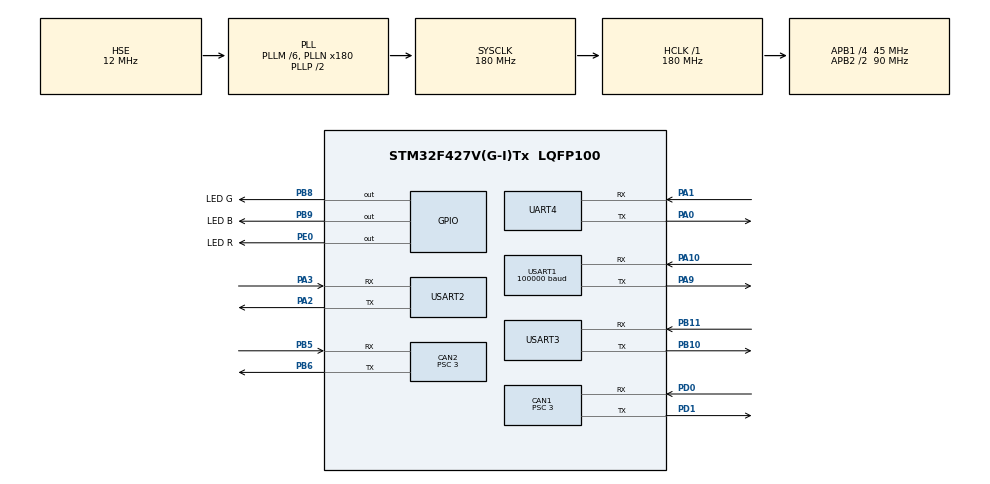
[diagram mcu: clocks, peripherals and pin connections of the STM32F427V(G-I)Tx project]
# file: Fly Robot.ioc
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CAN1.BS1=CAN_BS1_7TQ
CAN1.BS2=CAN_BS2_7TQ
CAN1.CalculateBaudRate=1000000
CAN1.CalculateTimeBit=1000
CAN1.CalculateTimeQuantum=66.66666666666666
CAN1.Prescaler=3
CAN2.BS1=CAN_BS1_7TQ
CAN2.BS2=CAN_BS2_7TQ
CAN2.CalculateBaudRate=1000000
CAN2.CalculateTimeBit=1000
CAN2.CalculateTimeQuantum=66.66666666666666
CAN2.Prescaler=3
CAN2.SJW=CAN_SJW_2TQ
Dma.Request0=USART1_RX
Dma.Request1=UART4_TX
Dma.Request2=USART2_RX
Dma.UART4_TX.1.Direction=DMA_MEMORY_TO_PERIPH
Dma.UART4_TX.1.FIFOMode=DMA_FIFOMODE_DISABLE
Dma.UART4_TX.1.Instance=DMA1_Stream4
Dma.UART4_TX.1.MemDataAlignment=DMA_MDATAALIGN_BYTE
Dma.UART4_TX.1.MemInc=DMA_MINC_ENABLE
Dma.UART4_TX.1.Mode=DMA_NORMAL
Dma.UART4_TX.1.PeriphDataAlignment=DMA_PDATAALIGN_BYTE
Dma.UART4_TX.1.PeriphInc=DMA_PINC_DISABLE
Dma.UART4_TX.1.Priority=DMA_PRIORITY_LOW
Dma.USART1_RX.0.Direction=DMA_PERIPH_TO_MEMORY
Dma.USART1_RX.0.FIFOMode=DMA_FIFOMODE_DISABLE
Dma.USART1_RX.0.Instance=DMA2_Stream2
Dma.USART1_RX.0.MemDataAlignment=DMA_MDATAALIGN_BYTE
Dma.USART1_RX.0.MemInc=DMA_MINC_ENABLE
Dma.USART1_RX.0.Mode=DMA_NORMAL
Dma.USART1_RX.0.PeriphDataAlignment=DMA_PDATAALIGN_BYTE
Dma.USART1_RX.0.PeriphInc=DMA_PINC_DISABLE
Dma.USART1_RX.0.Priority=DMA_PRIORITY_LOW
Dma.USART2_RX.2.Direction=DMA_PERIPH_TO_MEMORY
Dma.USART2_RX.2.FIFOMode=DMA_FIFOMODE_DISABLE
Dma.USART2_RX.2.Instance=DMA1_Stream5
Dma.USART2_RX.2.MemDataAlignment=DMA_MDATAALIGN_BYTE
Dma.USART2_RX.2.MemInc=DMA_MINC_ENABLE
Dma.USART2_RX.2.Mode=DMA_NORMAL
Dma.USART2_RX.2.PeriphDataAlignment=DMA_PDATAALIGN_BYTE
Dma.USART2_RX.2.PeriphInc=DMA_PINC_DISABLE
Dma.USART2_RX.2.Priority=DMA_PRIORITY_LOW
FREERTOS.Tasks01=defaultTask,24,128,StartDefaultTask,Default,NULL,Dynamic,NULL,NULL;ShootTask,24,256,StartShootTask,As weak,NULL,Dynamic,NULL,NULL;GimbalTask,24,256,StartGimbalTask,As weak,NULL,Dynamic,NULL,NULL;MonitorTask,24,128,StartMonitorTask,As weak,NULL,Dynamic,NULL,NULL;InitTask,55,128,StartInitTask,Default,NULL,Dynamic,NULL,NULL;CanTask,24,128,StartCanTask,Default,NULL,Dynamic,NULL,NULL
FREERTOS.configCHECK_FOR_STACK_OVERFLOW=1
FREERTOS.configENABLE_FPU=1
FREERTOS.configUSE_STATS_FORMATTING_FUNCTIONS=1
Mcu.Family=STM32F4
Mcu.Name=STM32F427V(G-I)Tx
Mcu.Package=LQFP100
NVIC.CAN1_RX0_IRQn=true\:5\:0\:false\:false\:true\:true\:true\:true\:true
NVIC.CAN2_RX0_IRQn=true\:5\:0\:false\:false\:true\:true\:true\:true\:true
NVIC.DMA1_Stream4_IRQn=true\:5\:0\:false\:false\:true\:true\:false\:true\:true
NVIC.DMA1_Stream5_IRQn=true\:5\:0\:false\:false\:true\:true\:false\:true\:true
NVIC.DMA2_Stream2_IRQn=true\:5\:0\:false\:false\:true\:true\:false\:true\:true
NVIC.PriorityGroup=NVIC_PRIORITYGROUP_4
NVIC.TIM6_DAC_IRQn=true\:15\:0\:false\:false\:true\:false\:false\:true\:true
NVIC.TimeBase=TIM6_DAC_IRQn
NVIC.TimeBaseIP=TIM6
NVIC.UART4_IRQn=true\:5\:0\:false\:false\:true\:true\:true\:true\:true
NVIC.USART1_IRQn=true\:5\:0\:false\:false\:true\:true\:true\:true\:true
NVIC.USART2_IRQn=true\:5\:0\:false\:false\:true\:true\:true\:true\:true
NVIC.USART3_IRQn=true\:5\:0\:false\:false\:true\:true\:true\:true\:true
PA0/WKUP.Mode=Asynchronous
PA0/WKUP.Signal=UART4_TX
PA1.Mode=Asynchronous
PA1.Signal=UART4_RX
PA10.Mode=Asynchronous
PA10.Signal=USART1_RX
PA13.Mode=Serial_Wire
PA13.Signal=SYS_JTMS-SWDIO
PA14.Mode=Serial_Wire
PA14.Signal=SYS_JTCK-SWCLK
PA2.GPIO_PuPd=GPIO_PULLUP
PA2.Mode=Asynchronous
PA2.Signal=USART2_TX
PA3.GPIO_PuPd=GPIO_PULLUP
PA3.Mode=Asynchronous
PA3.Signal=USART2_RX
PA9.Mode=Asynchronous
PA9.Signal=USART1_TX
PB10.Mode=Asynchronous
PB10.Signal=USART3_TX
PB11.Mode=Asynchronous
PB11.Signal=USART3_RX
PB5.Mode=CAN_Activate
PB5.Signal=CAN2_RX
PB6.Mode=CAN_Activate
PB6.Signal=CAN2_TX
PB8.GPIO_Label=LED G
PB8.Signal=GPIO_Output
PB9.GPIO_Label=LED B
PB9.Signal=GPIO_Output
PD0.Mode=CAN_Activate
PD0.Signal=CAN1_RX
PD1.Mode=CAN_Activate
PD1.Signal=CAN1_TX
PE0.GPIO_Label=LED R
PE0.Signal=GPIO_Output
PH0/OSC_IN.Mode=HSE-External-Oscillator
PH0/OSC_IN.Signal=RCC_OSC_IN
PH1/OSC_OUT.Mode=HSE-External-Oscillator
PH1/OSC_OUT.Signal=RCC_OSC_OUT
ProjectManager.HeapSize=0x200
ProjectManager.StackSize=0x400
ProjectManager.TargetToolchain=MDK-ARM V5.32
RCC.48MHZClocksFreq_Value=90000000
RCC.AHBFreq_Value=180000000
RCC.APB1CLKDivider=RCC_HCLK_DIV4
RCC.APB1Freq_Value=45000000
RCC.APB1TimFreq_Value=90000000
RCC.APB2CLKDivider=RCC_HCLK_DIV2
RCC.APB2Freq_Value=90000000
RCC.APB2TimFreq_Value=180000000
RCC.CortexFreq_Value=180000000
RCC.HCLKFreq_Value=180000000
RCC.HSE_VALUE=12000000
RCC.HSI_VALUE=16000000
RCC.LSE_VALUE=32768
RCC.PLLM=6
RCC.PLLN=180
RCC.PLLSourceVirtual=RCC_PLLSOURCE_HSE
RCC.SYSCLKFreq_VALUE=180000000
RCC.SYSCLKSource=RCC_SYSCLKSOURCE_PLLCLK
RCC.VCOOutputFreq_Value=360000000
UART4.VirtualMode=Asynchronous
USART1.BaudRate=100000
USART1.VirtualMode=VM_ASYNC
USART2.VirtualMode=VM_ASYNC
USART3.VirtualMode=VM_ASYNC
VP_FREERTOS_VS_CMSIS_V2.Mode=CMSIS_V2
VP_SYS_VS_tim6.Mode=TIM6
board=custom

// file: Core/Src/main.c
/* USER CODE BEGIN Header */
/**
  ******************************************************************************
  * @file           : main.c
  * @brief          : Main program body
  ******************************************************************************
  * @attention
  *
  * Copyright (c) 2024 STMicroelectronics.
  * All rights reserved.
  *
  * This software is licensed under terms that can be found in the LICENSE file
  * in the root directory of this software component.
  * If no LICENSE file comes with this software, it is provided AS-IS.
  *
  ******************************************************************************
  */
/* USER CODE END Header */
#include "main.h"
#include "cmsis_os.h"
#include "can.h"
#include "dma.h"
#include "usart.h"
#include "gpio.h"

/* USER CODE BEGIN Includes */
#include "_USART.h"
#include "_Can.h"
#include "all_line.h"
/* USER CODE END Includes */

/* USER CODE BEGIN PD */

//#define TX_BUFFER_SIZE 1024 // 定义缓冲区大小

//uint8_t txBuffer[TX_BUFFER_SIZE]; // 定义发送缓冲区
//volatile uint16_t txBufferTail = 0; // 缓冲区尾指针
//volatile uint16_t txBufferHead = 0; // 缓冲区头指针
//// 重写fputc函数
//int fputc(int ch, FILE *f) {
//    uint16_t nextIndex = (txBufferTail + 1) % TX_BUFFER_SIZE;

//    // 确保缓冲区未满
//    if (nextIndex != txBufferHead) {
//        txBuffer[txBufferTail] = (uint8_t)ch;
//        txBufferTail = nextIndex;

//        // 如果DMA未在传输，则启动DMA传输
//        if (__HAL_UART_GET_FLAG(&huart2, UART_FLAG_TXE) &&
//            (__HAL_UART_GET_IT_SOURCE(&huart2, UART_IT_TXE) == RESET)) {
//            // 计算传输长度
//            uint16_t dataLength = (txBufferTail >= txBufferHead) ?
//                                  (txBufferTail - txBufferHead) :
//                                  (TX_BUFFER_SIZE - txBufferHead);

//            // 启动DMA传输
//            HAL_UART_Transmit_DMA(&huart2, &txBuffer[txBufferHead], dataLength);
//        }
//    }

//    return ch;
//}
/* USER CODE END PD */

/* USER CODE BEGIN PM */
//void HAL_UART_TxCpltCallback(UART_HandleTypeDef *huart) {
//    if (huart == &huart2) {
//        // 更新缓冲区头指针
//        txBufferHead = (txBufferHead + huart->TxXferSize) % TX_BUFFER_SIZE;

//        // 如果还有数据需要发送，则继续传输
//        if (txBufferHead != txBufferTail) {
//            uint16_t dataLength = (txBufferTail >= txBufferHead) ?
//                                  (txBufferTail - txBufferHead) :
//                                  (TX_BUFFER_SIZE - txBufferHead);
//            HAL_UART_Transmit_DMA(&huart2, &txBuffer[txBufferHead], dataLength);
//        }
//    }
//}
/* USER CODE END PM */

void SystemClock_Config(void);
void MX_FREERTOS_Init(void);

/* USER CODE BEGIN 0 */
uint8_t receive_buff[5];

/* USER CODE END 0 */

int main(void)
{

  /* MCU Configuration--------------------------------------------------------*/

  /* Reset of all peripherals, Initializes the Flash interface and the Systick. */
  HAL_Init();

  /* Configure the system clock */
  SystemClock_Config();

  /* Initialize all configured peripherals */
  MX_GPIO_Init();
  MX_DMA_Init();
  MX_USART1_UART_Init();
  MX_CAN1_Init();
  MX_CAN2_Init();
  MX_USART2_UART_Init();
  MX_USART3_UART_Init();
  MX_UART4_Init();

  /* Init scheduler */
  osKernelInitialize();

  /* Call init function for freertos objects (in freertos.c) */
  MX_FREERTOS_Init();

  /* Start scheduler */
  osKernelStart();

  /* We should never get here as control is now taken by the scheduler */
  /* Infinite loop */
  while (1)
  {

	}
}

void SystemClock_Config(void)
{
  RCC_OscInitTypeDef RCC_OscInitStruct = {0};
  RCC_ClkInitTypeDef RCC_ClkInitStruct = {0};

  /** Configure the main internal regulator output voltage
  */
  __HAL_RCC_PWR_CLK_ENABLE();
  __HAL_PWR_VOLTAGESCALING_CONFIG(PWR_REGULATOR_VOLTAGE_SCALE1);

  /** Initializes the RCC Oscillators according to the specified parameters
  * in the RCC_OscInitTypeDef structure.
  */
  RCC_OscInitStruct.OscillatorType = RCC_OSCILLATORTYPE_HSE;
  RCC_OscInitStruct.HSEState = RCC_HSE_ON;
  RCC_OscInitStruct.PLL.PLLState = RCC_PLL_ON;
  RCC_OscInitStruct.PLL.PLLSource = RCC_PLLSOURCE_HSE;
  RCC_OscInitStruct.PLL.PLLM = 6;
  RCC_OscInitStruct.PLL.PLLN = 180;
  RCC_OscInitStruct.PLL.PLLP = RCC_PLLP_DIV2;
  RCC_OscInitStruct.PLL.PLLQ = 4;
  if (HAL_RCC_OscConfig(&RCC_OscInitStruct) != HAL_OK)
  {
    Error_Handler();
  }

  /** Activate the Over-Drive mode
  */
  if (HAL_PWREx_EnableOverDrive() != HAL_OK)
  {
    Error_Handler();
  }

  /** Initializes the CPU, AHB and APB buses clocks
  */
  RCC_ClkInitStruct.ClockType = RCC_CLOCKTYPE_HCLK|RCC_CLOCKTYPE_SYSCLK
                              |RCC_CLOCKTYPE_PCLK1|RCC_CLOCKTYPE_PCLK2;
  RCC_ClkInitStruct.SYSCLKSource = RCC_SYSCLKSOURCE_PLLCLK;
  RCC_ClkInitStruct.AHBCLKDivider = RCC_SYSCLK_DIV1;
  RCC_ClkInitStruct.APB1CLKDivider = RCC_HCLK_DIV4;
  RCC_ClkInitStruct.APB2CLKDivider = RCC_HCLK_DIV2;

  if (HAL_RCC_ClockConfig(&RCC_ClkInitStruct, FLASH_LATENCY_5) != HAL_OK)
  {
    Error_Handler();
  }
}

void HAL_TIM_PeriodElapsedCallback(TIM_HandleTypeDef *htim)
{
  if (htim->Instance == TIM6) {
    HAL_IncTick();
  }
}

void Error_Handler(void)
{
  __disable_irq();
  while (1)
  {
  }
}

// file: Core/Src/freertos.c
/* USER CODE BEGIN Header */
/**
  ******************************************************************************
  * File Name          : freertos.c
  * Description        : Code for freertos applications
  ******************************************************************************
  * @attention
  *
  * Copyright (c) 2024 STMicroelectronics.
  * All rights reserved.
  *
  * This software is licensed under terms that can be found in the LICENSE file
  * in the root directory of this software component.
  * If no LICENSE file comes with this software, it is provided AS-IS.
  *
  ******************************************************************************
  */
/* USER CODE END Header */

#include "FreeRTOS.h"
#include "task.h"
#include "main.h"
#include "cmsis_os.h"

/* USER CODE BEGIN Includes */
//#include "FreeRTOSRuntimeStats.h"
/* USER CODE END Includes */

/* USER CODE BEGIN PTD */
#include "Motor.h"
#include "message_buffer.h"
#include "_Can.h"
#include "Vofa.h"
#include "all_line.h"
/* USER CODE END PTD */

/* Definitions for defaultTask */
osThreadId_t defaultTaskHandle;
const osThreadAttr_t defaultTask_attributes = {
  .name = "defaultTask",
  .stack_size = 128 * 4,
  .priority = (osPriority_t) osPriorityNormal,
};
/* Definitions for ShootTask */
osThreadId_t ShootTaskHandle;
const osThreadAttr_t ShootTask_attributes = {
  .name = "ShootTask",
  .stack_size = 256 * 4,
  .priority = (osPriority_t) osPriorityNormal,
};
/* Definitions for GimbalTask */
osThreadId_t GimbalTaskHandle;
const osThreadAttr_t GimbalTask_attributes = {
  .name = "GimbalTask",
  .stack_size = 256 * 4,
  .priority = (osPriority_t) osPriorityNormal,
};
/* Definitions for MonitorTask */
osThreadId_t MonitorTaskHandle;
const osThreadAttr_t MonitorTask_attributes = {
  .name = "MonitorTask",
  .stack_size = 128 * 4,
  .priority = (osPriority_t) osPriorityNormal,
};
/* Definitions for InitTask */
osThreadId_t InitTaskHandle;
const osThreadAttr_t InitTask_attributes = {
  .name = "InitTask",
  .stack_size = 128 * 4,
  .priority = (osPriority_t) osPriorityRealtime7,
};
/* Definitions for CanTask */
osThreadId_t CanTaskHandle;
const osThreadAttr_t CanTask_attributes = {
  .name = "CanTask",
  .stack_size = 128 * 4,
  .priority = (osPriority_t) osPriorityNormal,
};

void StartDefaultTask(void *argument);
void StartShootTask(void *argument);
void StartGimbalTask(void *argument);
void StartMonitorTask(void *argument);
void StartInitTask(void *argument);
void StartCanTask(void *argument);

void MX_FREERTOS_Init(void); /* (MISRA C 2004 rule 8.1) */

/* Hook prototypes */
void vApplicationStackOverflowHook(xTaskHandle xTask, signed char *pcTaskName);

/* USER CODE BEGIN 4 */
void vApplicationStackOverflowHook(xTaskHandle xTask, signed char *pcTaskName)
{
   /* Run time stack overflow checking is performed if
   configCHECK_FOR_STACK_OVERFLOW is defined to 1 or 2. This hook function is
   called if a stack overflow is detected. */
}
/* USER CODE END 4 */

void MX_FREERTOS_Init(void) {

  /* USER CODE BEGIN RTOS_QUEUES */
  /* add queues, ... */
//  UsartMessageBufferHandle = xMessageBufferCreate(256);

  /* USER CODE END RTOS_QUEUES */

  /* Create the thread(s) */
  /* creation of defaultTask */
  defaultTaskHandle = osThreadNew(StartDefaultTask, NULL, &defaultTask_attributes);

  /* creation of ShootTask */
  ShootTaskHandle = osThreadNew(StartShootTask, NULL, &ShootTask_attributes);

  /* creation of GimbalTask */
  GimbalTaskHandle = osThreadNew(StartGimbalTask, NULL, &GimbalTask_attributes);

  /* creation of MonitorTask */
  MonitorTaskHandle = osThreadNew(StartMonitorTask, NULL, &MonitorTask_attributes);

  /* creation of InitTask */
  InitTaskHandle = osThreadNew(StartInitTask, NULL, &InitTask_attributes);

  /* creation of CanTask */
  CanTaskHandle = osThreadNew(StartCanTask, NULL, &CanTask_attributes);

}

void StartDefaultTask(void *argument)
{
  for(;;)
  {
    osDelay(1);
  }
}

/* USER CODE BEGIN Header_StartShootTask */
/**
* @brief Function implementing the ShootTask thread.
* @param argument: Not used
* @retval None
*/
uint32_t num1,num2;
/* USER CODE END Header_StartShootTask */
__weak void StartShootTask(void *argument)
{
  /* USER CODE BEGIN StartShootTask */
  /* Infinite loop */

    TickType_t ShootTaskWakeTime;
   ShootTaskWakeTime = xTaskGetTickCount();
  for(;;)
  {
	  num1++;
//	  printf("num1:%d\r\n",num1);
	  RGB_SetColor(GREEN);
//	  printf("StartShootTask\r\n");
//	  printf("ShootTick:%d\r\n",xTaskGetTickCount());
//	  printf("ShootTASKByte:%d\r\n", uxTaskGetStackHighWaterMark(ShootTaskHandle));
    vTaskDelayUntil(&ShootTaskWakeTime,11);
//	  osDelay(4);
  }
  /* USER CODE END StartShootTask */
}

__weak void StartGimbalTask(void *argument)
{
  /* USER CODE BEGIN StartGimbalTask */
  /* Infinite loop */
	TickType_t GimbalTaskWakeTime;
     GimbalTaskWakeTime = xTaskGetTickCount();
  for(;;)
  {

  }
  /* USER CODE END StartGimbalTask */
}

__weak void StartMonitorTask(void *argument)
{
  /* USER CODE BEGIN StartMonitorTask */
  /* Infinite loop */

TickType_t MonitorTaskWakeTime;
MonitorTaskWakeTime = xTaskGetTickCount();
  for(;;)
  {

      DBUS_Monitor();
//	    all_line_check();
      vTaskDelayUntil(&MonitorTaskWakeTime,5);
  }
  /* USER CODE END StartMonitorTask */
}

void StartInitTask(void *argument)
{
  /* USER CODE BEGIN StartInitTask */
  /* Infinite loop */
  for(;;)
  {

	 setvbuf(stdout, NULL, _IONBF, 0);
	 __HAL_UART_ENABLE_IT(&huart1, UART_IT_IDLE);
	HAL_UART_Receive_DMA(&huart1, (uint8_t*)DBUS_Data,18);
	HAL_UART_Receive_DMA(&huart2, (uint8_t*)Vis_Data, 15);

	CAN_Filter_Init(&hcan1);
	CAN_Filter_Init(&hcan2);

	vTaskDelete(NULL);
	  osDelay(1);

  }
  /* USER CODE END StartInitTask */
}

void StartCanTask(void *argument)
{
  /* USER CODE BEGIN StartCanTask */
  /* Infinite loop */
 TickType_t CanTaskWakeTime;
 CanTaskWakeTime = xTaskGetTickCount();

  for(;;)
  {
	LKMF_Data_Read(&hcan1,2);
	vTaskDelayUntil(&CanTaskWakeTime,1);

	LKMF_iq_ctrl(&hcan1,2,(int16_t)Gimbal_Master.GyroPitch_PID_S.allOut);
	vTaskDelayUntil(&CanTaskWakeTime,1);

	CAN_send(&hcan1, 0x200, (int16_t)RM3508_Right.PID_S.allOut ,(int16_t)Gimbal_Master.GyroYaw_PID_S.allOut ,(int16_t)RM2006_Shoot.PID_S.allOut ,(int16_t)RM3508_Left .PID_S.allOut);
  vTaskDelayUntil(&CanTaskWakeTime,2);
//	   CAN_send(&hcan1, 0x200, 0,00,200,000);
//  Power_on_3508check();

	VOFA_justfloat( Gimbal_Master.GyroPitch_PID_A.target,Gyro.Pitch_angle_f,Gimbal_Master.GyroPitch_PID_A.allOut ,Gyro.Pitch_speed,Gimbal_Master.GyroYaw_PID_A.target,Gyro.Yaw_angle_f,0,VisMaster.PreY ,VisMaster.PreX ,0);

//	  Vis_Tx();

  }
  /* USER CODE END StartCanTask */
}
